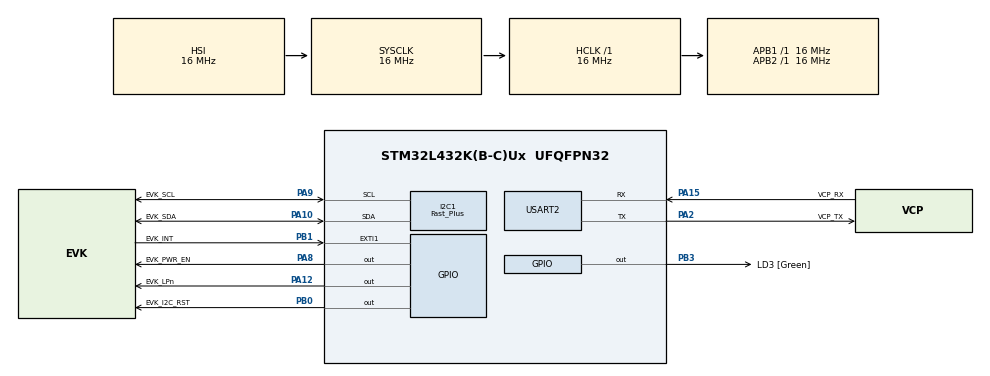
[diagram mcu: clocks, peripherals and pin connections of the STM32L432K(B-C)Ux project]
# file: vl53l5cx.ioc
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I2C1.I2C_Speed_Mode=I2C_Fast_Plus
I2C1.Timing=0x00200105
Mcu.Family=STM32L4
Mcu.Name=STM32L432K(B-C)Ux
Mcu.Package=UFQFPN32
NVIC.PriorityGroup=NVIC_PRIORITYGROUP_4
PA0.GPIO_Label=MCO [High speed clock in]
PA0.Mode=HSE-External-Clock-Source-for-LittleOrca
PA0.Signal=RCC_CK_IN
PA10.GPIO_Label=EVK_SDA
PA10.GPIO_Pu=GPIO_PULLUP
PA10.Mode=I2C
PA10.Signal=I2C1_SDA
PA12.GPIO_Label=EVK_LPn
PA12.PinState=GPIO_PIN_SET
PA12.Signal=GPIO_Output
PA13\ (JTMS-SWDIO).GPIO_Label=SWDIO
PA13\ (JTMS-SWDIO).Mode=Serial_Wire
PA13\ (JTMS-SWDIO).Signal=SYS_JTMS-SWDIO
PA14\ (JTCK-SWCLK).GPIO_Label=SWCLK
PA14\ (JTCK-SWCLK).Mode=Serial_Wire
PA14\ (JTCK-SWCLK).Signal=SYS_JTCK-SWCLK
PA15\ (JTDI).GPIO_Label=VCP_RX
PA15\ (JTDI).Mode=Asynchronous
PA15\ (JTDI).Signal=USART2_RX
PA2.GPIO_Label=VCP_TX
PA2.Mode=Asynchronous
PA2.Signal=USART2_TX
PA8.GPIO_Label=EVK_PWR_EN
PA8.PinState=GPIO_PIN_SET
PA8.Signal=GPIO_Output
PA9.GPIO_Label=EVK_SCL
PA9.GPIO_Pu=GPIO_PULLUP
PA9.Mode=I2C
PA9.Signal=I2C1_SCL
PB0.GPIO_Label=EVK_I2C_RST
PB0.Signal=GPIO_Output
PB1.GPIO_Label=EVK_INT
PB1.Signal=GPXTI1
PB3\ (JTDO-TRACESWO).GPIO_Label=LD3 [Green]
PB3\ (JTDO-TRACESWO).Signal=GPIO_Output
PC14-OSC32_IN\ (PC14).Mode=LSE-External-Oscillator
PC14-OSC32_IN\ (PC14).Signal=RCC_OSC32_IN
PC15-OSC32_OUT\ (PC15).Mode=LSE-External-Oscillator
PC15-OSC32_OUT\ (PC15).Signal=RCC_OSC32_OUT
ProjectManager.HeapSize=0x200
ProjectManager.StackSize=0x400
ProjectManager.TargetToolchain=CMake
RCC.ADCFreq_Value=16000000
RCC.AHBFreq_Value=16000000
RCC.APB1Freq_Value=16000000
RCC.APB1TimFreq_Value=16000000
RCC.APB2Freq_Value=16000000
RCC.APB2TimFreq_Value=16000000
RCC.CortexFreq_Value=16000000
RCC.HCLKFreq_Value=16000000
RCC.HSE_VALUE=8000000
RCC.HSI16_VALUE=16000000
RCC.HSI48_VALUE=48000000
RCC.HSI_VALUE=16000000
RCC.MSI_VALUE=4000000
RCC.PLLMUL=RCC_PLLMUL_4
RCC.PLLN=16
RCC.SYSCLKFreq_VALUE=16000000
RCC.SYSCLKSource=RCC_SYSCLKSOURCE_HSI
RCC.USBFreq_Value=16000000
RCC.VCOOutputFreq_Value=64000000
USART2.VirtualMode-Asynchronous=VM_ASYNC
board=NUCLEO-L432KC

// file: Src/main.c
/* USER CODE BEGIN Header */
/**
  ******************************************************************************
  * @file           : main.c
  * @brief          : Main program body
  ******************************************************************************
  * @attention
  *
  * Copyright (c) 2025 STMicroelectronics.
  * All rights reserved.
  *
  * This software is licensed under terms that can be found in the LICENSE file
  * in the root directory of this software component.
  * If no LICENSE file comes with this software, it is provided AS-IS.
  *
  ******************************************************************************
  */
/* USER CODE END Header */
#include "main.h"

/* USER CODE BEGIN Includes */
#include <stdlib.h>
#include <string.h>
#include <stdio.h>
#include "stm32l4xx_hal.h"
#include "stm32l4xx_hal_gpio.h"
#include "vl53l5cx_api.h"
/* USER CODE END Includes */

I2C_HandleTypeDef hi2c1;

UART_HandleTypeDef huart2;

void SystemClock_Config(void);
static void MX_GPIO_Init(void);
static void MX_I2C1_Init(void);
static void MX_USART2_UART_Init(void);

/* USER CODE BEGIN 0 */

// support printf
int __io_putchar (int ch)
{
  HAL_UART_Transmit(&huart2, (uint8_t *)&ch, 1, 0xFFFF);
  return ch;
}

/* USER CODE END 0 */

int main(void)
{

  /* MCU Configuration--------------------------------------------------------*/

  /* Reset of all peripherals, Initializes the Flash interface and the Systick. */
  HAL_Init();

  /* Configure the system clock */
  SystemClock_Config();

  /* Initialize all configured peripherals */
  MX_GPIO_Init();
  MX_I2C1_Init();
  MX_USART2_UART_Init();
  /* USER CODE BEGIN 2 */

  printf("STM32L432 VL53L5CX-SATEL Demo\n");

  HAL_GPIO_WritePin(EVK_PWR_EN_GPIO_Port, EVK_PWR_EN_Pin, GPIO_PIN_SET); // power on
  HAL_Delay(100);

  /* USER CODE END 2 */

  /* Infinite loop */
  /* USER CODE BEGIN WHILE */

  VL53L5CX_Configuration 	Dev;
  Dev.platform.address = VL53L5CX_DEFAULT_I2C_ADDRESS;
	Dev.platform.hi2c = &hi2c1;

  // VL53L5CX_Reset_Sensor(&(Dev.platform));

  // status = vl53l5cx_set_i2c_address(&Dev, 0x20);
  // if(status) {
  //   printf("vl53l5cx_set_i2c_address failed\n");
  //   return status;
  // }
  // Dev.platform.address = 0x20;

  uint8_t status = 255;
  uint8_t isAlive;
	status = vl53l5cx_is_alive(&Dev, &isAlive);
	if(!isAlive || status) {
		printf("VL53L5CX not detected at requested address\n");
		return status;
	}

	status = vl53l5cx_init(&Dev);
	if(status) {
		printf("vl53l5cx_init failed\n");
		return status;
	}

	printf("VL53L5CX ULD ready ! (Version : %s)\n", VL53L5CX_API_REVISION);

	/* Set resolution in 8x8. WARNING : As others settings depend to this
	 * one, it must be the first to use.
	 */
	status = vl53l5cx_set_resolution(&Dev, VL53L5CX_RESOLUTION_8X8);
	if(status)
	{
		printf("vl53l5cx_set_resolution failed, status %u\n", status);
		return status;
	}

  int n = 8;

	/* Set ranging frequency to 10Hz.
	 * Using 4x4, min frequency is 1Hz and max is 60Hz
	 * Using 8x8, min frequency is 1Hz and max is 15Hz
	 */
	status = vl53l5cx_set_ranging_frequency_hz(&Dev, 10);
	if(status)
	{
		printf("vl53l5cx_set_ranging_frequency_hz failed, status %u\n", status);
		return status;
	}

  /* Set target order to closest */
	status = vl53l5cx_set_target_order(&Dev, VL53L5CX_TARGET_ORDER_CLOSEST);
	if(status)
	{
		printf("vl53l5cx_set_target_order failed, status %u\n", status);
		return status;
	}

  status = vl53l5cx_start_ranging(&Dev);
	if(status) {
		printf("vl53l5cx_start_ranging failed\n");
		return status;
	}

  while (1)
  {
		/* Use polling function to know when a new measurement is ready.
		 * Another way can be to wait for HW interrupt raised on PIN A3
		 * (GPIO 1) when a new measurement is ready */
    uint8_t isReady;
    status = vl53l5cx_check_data_ready(&Dev, &isReady);
		if(isReady)
		{
      printf("%10lu; ", (long unsigned)HAL_GetTick());
      VL53L5CX_ResultsData Results;
			vl53l5cx_get_ranging_data(&Dev, &Results);
      for(int i = 0; i < n*n; i++)
			{
        if(i % n == 0) {
          printf("    ");
        }
        uint8_t stat = Results.target_status[VL53L5CX_NB_TARGET_PER_ZONE*i];
        int16_t dist = Results.distance_mm[VL53L5CX_NB_TARGET_PER_ZONE*i];
        switch(stat)
        {
          case 5: break;  // 100% - Range valid
          case 6:         // 50% - Wrap around not performed (typically the first range)
          case 9: dist = -dist; break;  // 50% -Range valid with large pulse (may be due to a merged target)
          default: dist = 0;  // else: 0% confidence
        }
        printf("%5d; ", dist);
      }
      printf("\n");
    }
    HAL_Delay(5);

    /* USER CODE END WHILE */

  }
}

void SystemClock_Config(void)
{
  RCC_OscInitTypeDef RCC_OscInitStruct = {0};
  RCC_ClkInitTypeDef RCC_ClkInitStruct = {0};

  /** Configure the main internal regulator output voltage
  */
  if (HAL_PWREx_ControlVoltageScaling(PWR_REGULATOR_VOLTAGE_SCALE1) != HAL_OK)
  {
    Error_Handler();
  }

  /** Initializes the RCC Oscillators according to the specified parameters
  * in the RCC_OscInitTypeDef structure.
  */
  RCC_OscInitStruct.OscillatorType = RCC_OSCILLATORTYPE_HSI;
  RCC_OscInitStruct.HSIState = RCC_HSI_ON;
  RCC_OscInitStruct.HSICalibrationValue = RCC_HSICALIBRATION_DEFAULT;
  RCC_OscInitStruct.PLL.PLLState = RCC_PLL_NONE;
  if (HAL_RCC_OscConfig(&RCC_OscInitStruct) != HAL_OK)
  {
    Error_Handler();
  }

  /** Initializes the CPU, AHB and APB buses clocks
  */
  RCC_ClkInitStruct.ClockType = RCC_CLOCKTYPE_HCLK|RCC_CLOCKTYPE_SYSCLK
                              |RCC_CLOCKTYPE_PCLK1|RCC_CLOCKTYPE_PCLK2;
  RCC_ClkInitStruct.SYSCLKSource = RCC_SYSCLKSOURCE_HSI;
  RCC_ClkInitStruct.AHBCLKDivider = RCC_SYSCLK_DIV1;
  RCC_ClkInitStruct.APB1CLKDivider = RCC_HCLK_DIV1;
  RCC_ClkInitStruct.APB2CLKDivider = RCC_HCLK_DIV1;

  if (HAL_RCC_ClockConfig(&RCC_ClkInitStruct, FLASH_LATENCY_0) != HAL_OK)
  {
    Error_Handler();
  }
}

static void MX_I2C1_Init(void)
{

  hi2c1.Instance = I2C1;
  hi2c1.Init.Timing = 0x00200105;
  hi2c1.Init.OwnAddress1 = 0;
  hi2c1.Init.AddressingMode = I2C_ADDRESSINGMODE_7BIT;
  hi2c1.Init.DualAddressMode = I2C_DUALADDRESS_DISABLE;
  hi2c1.Init.OwnAddress2 = 0;
  hi2c1.Init.OwnAddress2Masks = I2C_OA2_NOMASK;
  hi2c1.Init.GeneralCallMode = I2C_GENERALCALL_DISABLE;
  hi2c1.Init.NoStretchMode = I2C_NOSTRETCH_DISABLE;
  if (HAL_I2C_Init(&hi2c1) != HAL_OK)
  {
    Error_Handler();
  }

  /** Configure Analogue filter
  */
  if (HAL_I2CEx_ConfigAnalogFilter(&hi2c1, I2C_ANALOGFILTER_ENABLE) != HAL_OK)
  {
    Error_Handler();
  }

  /** Configure Digital filter
  */
  if (HAL_I2CEx_ConfigDigitalFilter(&hi2c1, 0) != HAL_OK)
  {
    Error_Handler();
  }

  /** I2C Fast mode Plus enable
  */
  HAL_I2CEx_EnableFastModePlus(I2C_FASTMODEPLUS_I2C1);

}

static void MX_USART2_UART_Init(void)
{

  huart2.Instance = USART2;
  huart2.Init.BaudRate = 115200;
  huart2.Init.WordLength = UART_WORDLENGTH_8B;
  huart2.Init.StopBits = UART_STOPBITS_1;
  huart2.Init.Parity = UART_PARITY_NONE;
  huart2.Init.Mode = UART_MODE_TX_RX;
  huart2.Init.HwFlowCtl = UART_HWCONTROL_NONE;
  huart2.Init.OverSampling = UART_OVERSAMPLING_16;
  huart2.Init.OneBitSampling = UART_ONE_BIT_SAMPLE_DISABLE;
  huart2.AdvancedInit.AdvFeatureInit = UART_ADVFEATURE_NO_INIT;
  if (HAL_UART_Init(&huart2) != HAL_OK)
  {
    Error_Handler();
  }

}

static void MX_GPIO_Init(void)
{
  GPIO_InitTypeDef GPIO_InitStruct = {0};

  /* GPIO Ports Clock Enable */
  __HAL_RCC_GPIOC_CLK_ENABLE();
  __HAL_RCC_GPIOA_CLK_ENABLE();
  __HAL_RCC_GPIOB_CLK_ENABLE();

  /*Configure GPIO pin Output Level */
  HAL_GPIO_WritePin(GPIOB, EVK_I2C_RST_Pin|LD3_Pin, GPIO_PIN_RESET);

  /*Configure GPIO pin Output Level */
  HAL_GPIO_WritePin(GPIOA, EVK_PWR_EN_Pin|EVK_LPn_Pin, GPIO_PIN_SET);

  /*Configure GPIO pins : EVK_I2C_RST_Pin LD3_Pin */
  GPIO_InitStruct.Pin = EVK_I2C_RST_Pin|LD3_Pin;
  GPIO_InitStruct.Mode = GPIO_MODE_OUTPUT_PP;
  GPIO_InitStruct.Pull = GPIO_NOPULL;
  GPIO_InitStruct.Speed = GPIO_SPEED_FREQ_LOW;
  HAL_GPIO_Init(GPIOB, &GPIO_InitStruct);

  /*Configure GPIO pin : EVK_INT_Pin */
  GPIO_InitStruct.Pin = EVK_INT_Pin;
  GPIO_InitStruct.Mode = GPIO_MODE_IT_RISING;
  GPIO_InitStruct.Pull = GPIO_NOPULL;
  HAL_GPIO_Init(EVK_INT_GPIO_Port, &GPIO_InitStruct);

  /*Configure GPIO pins : EVK_PWR_EN_Pin EVK_LPn_Pin */
  GPIO_InitStruct.Pin = EVK_PWR_EN_Pin|EVK_LPn_Pin;
  GPIO_InitStruct.Mode = GPIO_MODE_OUTPUT_PP;
  GPIO_InitStruct.Pull = GPIO_NOPULL;
  GPIO_InitStruct.Speed = GPIO_SPEED_FREQ_LOW;
  HAL_GPIO_Init(GPIOA, &GPIO_InitStruct);

}

void Error_Handler(void)
{
  __disable_irq();
  while (1)
  {
  }
}
